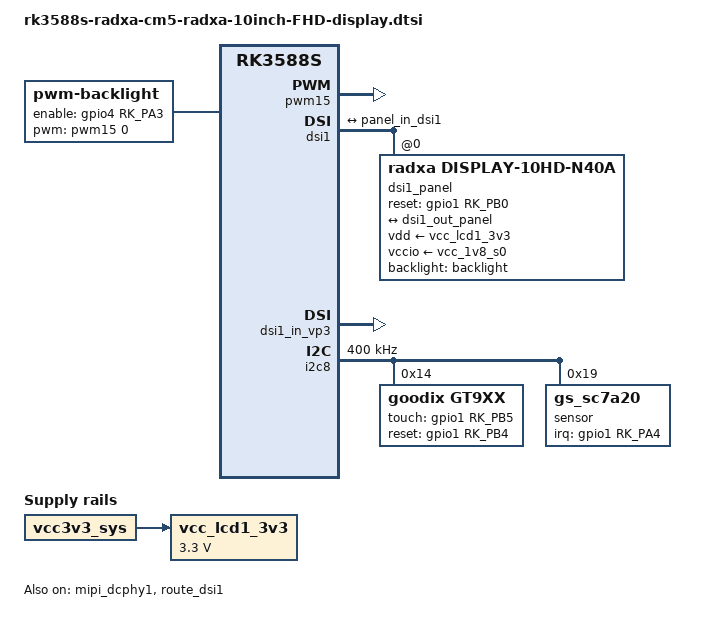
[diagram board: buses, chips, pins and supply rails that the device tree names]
// SPDX-License-Identifier: (GPL-2.0+ OR MIT)
/*
 * Copyright (c) 2022 Radxa Limited.
 *
 */

/ {
	compatible = "radxa,rock-5a", "rockchip,rk3588s";

	vcc_lcd1_3v3: vcc-lcd-3v3 {
		status = "okay";
		compatible = "regulator-fixed";
		regulator-name = "vcc_lcd1_3v3";
		regulator-always-on;
		regulator-boot-on;
		regulator-min-microvolt = <3300000>;
		regulator-max-microvolt = <3300000>;
		vin-supply = <&vcc3v3_sys>;
	};

	backlight: backlight {
		status = "okay";
		compatible = "pwm-backlight";
		pwms = <&pwm15 0 25000 0>;
		brightness-levels = <
			255 254 253 252 251 250 249 248
			247 246 245 244 243 242 241 240
			239 238 237 236 235 234 233 232
			231 230 229 228 227 226 225 224
			223 222 221 220 219 218 217 216
			215 214 213 212 211 210 209 208
			207 206 205 204 203 202 201 200
			199 198 197 196 195 194 193 192
			191 190 189 188 187 186 185 184
			183 182 181 180 179 178 177 176
			175 174 173 172 171 170 169 168
			167 166 165 164 163 162 161 160
			159 158 157 156 155 154 153 152
			151 150 149 148 147 146 145 144
			143 142 141 140 139 138 137 136
			135 134 133 132 131 130 129 128
			127 126 125 124 123 122 121 120
			119 118 117 116 115 114 113 112
			111 110 109 108 107 106 105 104
			103 102 101 100  99  98  97  96
			 95  94  93  92  91  90  89  88
			 87  86  85  84  83  82  81  80
			 79  78  77  76  75  74  73  72
			 71  70  69  68  67  66  65  64
			 63  62  61  60  59  58  57  56
			 55  54  53  52  51  50  49  48
			 47  46  45  44  43  42  41  40
			 39  38  38  37  37  36  36  35
			 35  34  34  33  33  32  32  31
			 31  30  30  29  29  28  28  27
			 27  26  26  25  25  24  24  23
			 23  22  22  21  21  20  20  0
		>;
		default-brightness-level = <200>;
		enable-gpios = <&gpio4 RK_PA3 GPIO_ACTIVE_HIGH>;
		pinctrl-names = "default";
		pinctrl-0 = <&backlight_en>;
	};
};

&pwm15 {
	status = "okay";
	pinctrl-names = "active";
	pinctrl-0 = <&pwm15m1_pins>;
};

&dsi1 {
	status = "okay";
	rockchip,lane-rate = <1000>;
	#address-cells = <1>;
	#size-cells = <0>;

	dsi1_panel: panel@0 {
		status = "okay";
		compatible ="radxa,display-10hd-N40A";
		reg = <0>;
		backlight = <&backlight>;

		vdd-supply = <&vcc_lcd1_3v3>;
		vccio-supply = <&vcc_1v8_s0>;
		reset-gpios = <&gpio1 RK_PB0 GPIO_ACTIVE_HIGH>;
		pinctrl-names = "default";
		pinctrl-0 = <&dsi1_lcd_rst_gpio>;

		ports {
			#address-cells = <1>;
			#size-cells = <0>;

			port@0 {
				reg = <0>;
				panel_in_dsi1: endpoint {
					remote-endpoint = <&dsi1_out_panel>;
				};
			};
		};
	};

	ports {
		#address-cells = <1>;
		#size-cells = <0>;

		port@1 {
			reg = <1>;
			dsi1_out_panel: endpoint {
				remote-endpoint = <&panel_in_dsi1>;
			};
		};
	};
};

&mipi_dcphy1 {
	status = "okay";
};

&route_dsi1 {
	status = "okay";
	connect = <&vp3_out_dsi1>;
};

&dsi1_in_vp3 {
	status = "okay";
};

&dsi1_in_vp2 {
	status = "disabled";
};

&i2c8 {
	status = "okay";
	pinctrl-names = "default";
	pinctrl-0 = <&i2c8m2_xfer>;
	clock-frequency = <400000>;

	gt9xx: gt9xx@14 {
		status = "okay";
		compatible = "goodix,gt9xx";
		reg = <0x14>;
		pinctrl-names = "default";
		pinctrl-0 = <&gt9xx_gpio>;
		touch-gpio = <&gpio1 RK_PB5 IRQ_TYPE_LEVEL_HIGH>;
		reset-gpio = <&gpio1 RK_PB4 GPIO_ACTIVE_HIGH>;
		max-x = <1200>;
		max-y = <1920>;
		tp-size = <9271>;
	};

	sensor: sensor@19 {
		status = "okay";
		compatible = "gs_sc7a20";
		reg = <0x19>;
		type = <SENSOR_TYPE_ACCEL>;
		irq_enable = <0>;
		pinctrl-names = "default";
		pinctrl-0 = <&sensor_gpio>;
		irq-gpio = <&gpio1 RK_PA4 IRQ_TYPE_EDGE_RISING>;
		poll_delay_ms = <10>;
		layout = <3>;
		reprobe_en = <1>;
	};
};

&pinctrl {

	dsi1-lcd {
		dsi1_lcd_rst_gpio: dsi1-lcd-rst-gpio {
			rockchip,pins = <1 RK_PB0 RK_FUNC_GPIO &pcfg_pull_up>;
		};

		backlight_en: backlight-en {
			rockchip,pins = <4 RK_PA3 RK_FUNC_GPIO &pcfg_pull_up>;
		};
	};

	gt9xx {
		gt9xx_gpio: gt9xx-gpio {
			rockchip,pins =
				<1 RK_PB5 RK_FUNC_GPIO &pcfg_pull_none>,
				<1 RK_PB4 RK_FUNC_GPIO &pcfg_pull_up>;
		};
	};

	sensor {
		sensor_gpio: sensor-gpio {
			rockchip,pins =
				<1 RK_PA4 RK_FUNC_GPIO &pcfg_pull_none>;
		};
	};
};
